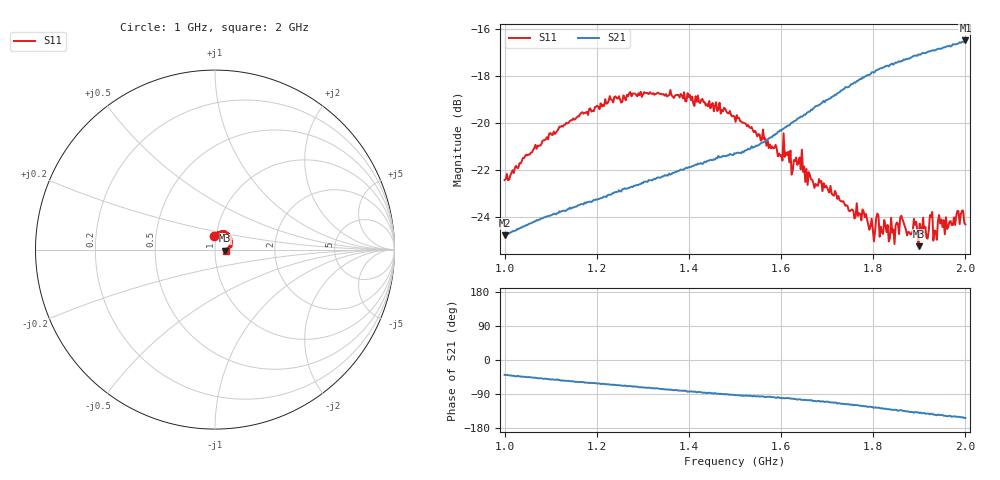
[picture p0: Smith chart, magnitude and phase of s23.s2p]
# HZ S RI R 50
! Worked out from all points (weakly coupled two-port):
!   404 points, 1 GHz to 2 GHz, reference 50 ohm
!   highest |S21| = -16.47 dB at 2 GHz (marker M1); lowest = -24.8 dB at 1 GHz (marker M2)
!   lowest |S11| = -25.2 dB at 1.898 GHz (marker M3), VSWR 1.12, Z = 55.7 - j0.685 ohm
!   |S11| at or under -10 dB: start of sweep to end of sweep
!   S12 and S22 are empty: the file has one direction only
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1e9  -0.00301 0.0756  0.0447 -0.0365  0 0  0 0
1.168735e9  0.0337 0.1001  0.0354 -0.0571  0 0  0 0
1.334988e9  0.0705 0.0917  0.0187 -0.0743  0 0  0 0
1.501241e9  0.0892 0.0465  -0.00422 -0.0861  0 0  0 0
1.598015e9  0.0828 0.0203  -0.0174 -0.0951  0 0  0 0
1.610422e9  0.0848 0.0177  -0.0179 -0.0964  0 0  0 0
1.622829e9  0.0763 0.0144  -0.021 -0.098  0 0  0 0
1.640199e9  0.0835 0.0134  -0.0239 -0.1  0 0  0 0
1.667494e9  0.0755 0.00691  -0.0314 -0.102  0 0  0 0
1.781638e9  0.063 -0.00183  -0.0667 -0.1065  0 0  0 0
1.796526e9  0.0625 -0.00255  -0.0721 -0.1061  0 0  0 0
1.811415e9  0.0634 -0.00255  -0.0755 -0.106  0 0  0 0
1.833747e9  0.056 8.37e-06  -0.0847 -0.1014  0 0  0 0
1.863524e9  0.0624 -0.000591  -0.0936 -0.0982  0 0  0 0
1.878412e9  0.0586 -0.00108  -0.1006 -0.0935  0 0  0 0
1.898263e9  0.0543 -0.00613  -0.1043 -0.0936  0 0  0 0
1.915633e9  0.0567 -0.00574  -0.1106 -0.0883  0 0  0 0
1.923077e9  0.0637 -0.00249  -0.1141 -0.0851  0 0  0 0
1.935484e9  0.0583 -0.00741  -0.1175 -0.0819  0 0  0 0
1.94541e9  0.0609 -0.00488  -0.1187 -0.0815  0 0  0 0
1.987593e9  0.0596 -0.0126  -0.1294 -0.0733  0 0  0 0
2e9  0.0603 -0.00793  -0.1334 -0.0687  0 0  0 0
